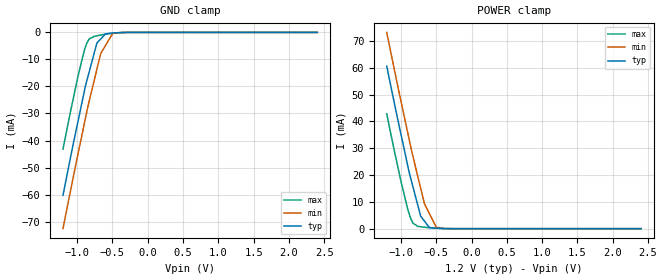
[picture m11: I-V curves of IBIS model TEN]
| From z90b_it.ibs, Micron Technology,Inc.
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| MODEL TEN (TEN Input Model)
[Model]   TEN
Model_type   Input
Vinl = 240.000mV
Vinh = 960.000mV
|   typ   min   max
|C_comp   0.470pF   0.420pF   0.520pF
C_comp_power_clamp   0.2350pF   0.2100pF   0.2600pF
C_comp_gnd_clamp   0.2350pF   0.2100pF   0.2600pF
[Model Spec]
| Input threshold voltage corners
Vinl   0.2400V   0.2280V   0.2520V
Vinh   0.9600V   0.9120V   1.0080V
[Voltage Range]   1.2000V   1.1400V   1.2600V
| Junction Temperature (Ambient temp is 35C typ, 95C min, -40C max)
[Temperature Range]   50.0   110.0   -40.0
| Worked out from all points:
|   GND clamp passes 1 mA (typ) near -0.61 V on its own axis
|   POWER clamp passes 1 mA (typ) near -0.61 V on its own axis
[GND Clamp]
|   Voltage   I(typ)   I(min)   I(max)
-1.2V     -60.31mA   -72.62mA   -43.23mA
-1.095V   -46.48mA   -58.79mA   -29.51mA
-995mV    -33.85mA   -45.92mA   -17.09mA
-900mV    -22.03mA   -34.01mA   -6.845mA
-865mV    -18.12mA   -29.62mA   -4.125mA
-830mV    -14.69mA   -25.52mA   -2.467mA
-720mV    -3.929mA   -13.63mA   -1.247mA
-665mV    -2.415mA   -7.765mA   -959.3uA
-595mV    -555.7uA   -4.696mA   -656.7uA
-495mV    -228.2uA   -373.1uA   -309.5uA
-275mV    -10.94uA   -7.593uA   -11.56uA
2.4V      0A         0A         0A
[POWER Clamp]
|   Voltage   I(typ)   I(min)   I(max)
-1.2V     60.61mA    73.15mA    42.8mA
-995mV    34.74mA    47.07mA    17.21mA
-900mV    23.13mA    35.39mA    7.003mA
-865mV    19.23mA    31.08mA    4.081mA
-830mV    15.72mA    27.03mA    2.083mA
-760mV    8.692mA    19.43mA    861.2uA
-720mV    4.689mA    15.09mA    719.6uA
-665mV    2.776mA    9.193mA    535.1uA
-595mV    430.3uA    5.563mA    358uA
-495mV    138.6uA    451.4uA    158uA
-280mV    4.544uA    4.212uA    3.508uA
2.4V      0A         0A         0A
